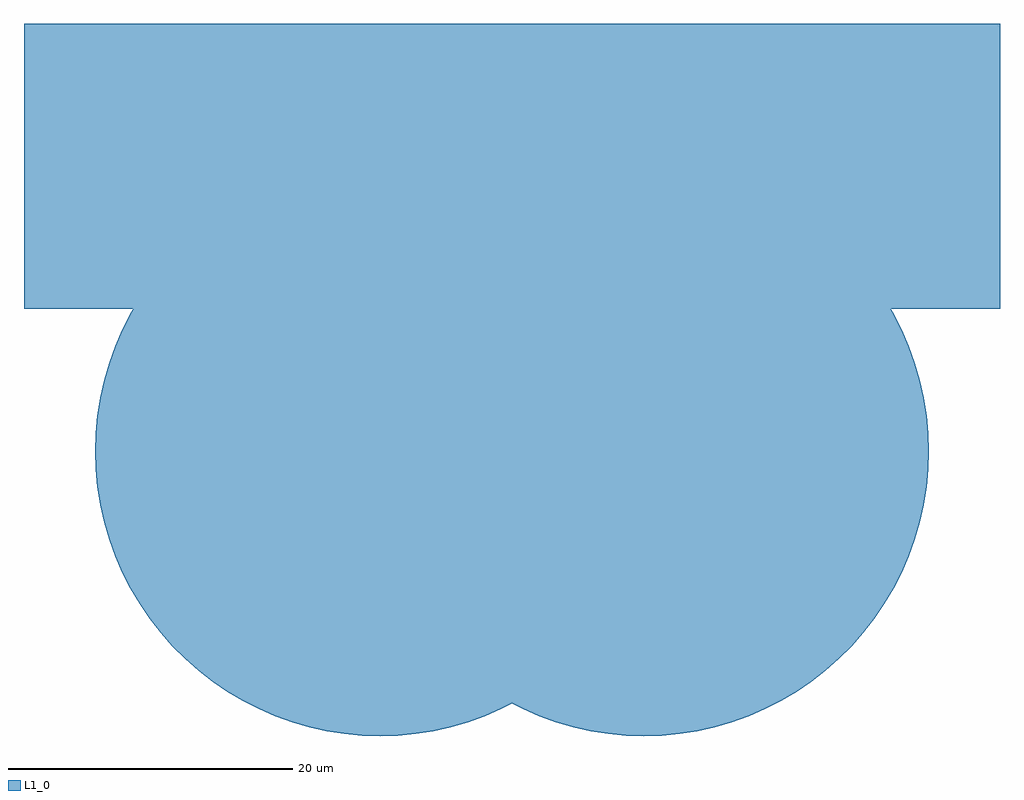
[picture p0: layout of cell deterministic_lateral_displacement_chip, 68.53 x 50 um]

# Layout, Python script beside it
import gdspy


# Define the design specifications
gap_size = 0.225  # in microns
pillar_size = 0.4  # in microns
width = 30  # number of pillars
row_shift_fraction = 0.1  # fraction of row shift
inlet_diameter = 40  # in microns
outlet_diameter = 40  # in microns
bus_width = 20  # in microns
bus_length = 50  # in microns

# Create a new GDS library and cell
lib = gdspy.GdsLibrary()
cell = lib.new_cell("deterministic_lateral_displacement_chip")

# Create the channel
channel = gdspy.Rectangle((0, 0), (width * pillar_size + (width - 1) * gap_size, pillar_size), layer=1)
cell.add(channel)

# Add the pillars
for i in range(width):
    pillar = gdspy.Round((i * (pillar_size + gap_size) + pillar_size/2, pillar_size/2), pillar_size/2, layer=1)
    cell.add(pillar)

# Add the row shift
row_shift = row_shift_fraction * pillar_size
for i in range(1, width):
    pillar = gdspy.Round((i * (pillar_size + gap_size) + pillar_size/2 + row_shift, pillar_size/2), pillar_size/2, layer=1)
    cell.add(pillar)

# Create the inlet and outlet
inlet = gdspy.Round((0, -inlet_diameter/2), inlet_diameter/2, layer=1)
outlet = gdspy.Round((width * pillar_size + (width - 1) * gap_size, -outlet_diameter/2), outlet_diameter/2, layer=1)
cell.add([inlet, outlet])

# Create the bus
bus_in = gdspy.Rectangle((-bus_length/2, -bus_width/2), (bus_length/2, bus_width/2), layer=1)
bus_out = gdspy.Rectangle((width * pillar_size + (width - 1) * gap_size - bus_length/2, -bus_width/2), (width * pillar_size + (width - 1) * gap_size + bus_length/2, bus_width/2), layer=1)
cell.add([bus_in, bus_out])

# Save the design to a GDS file
lib.write_gds("deterministic_lateral_displacement_chip.gds")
